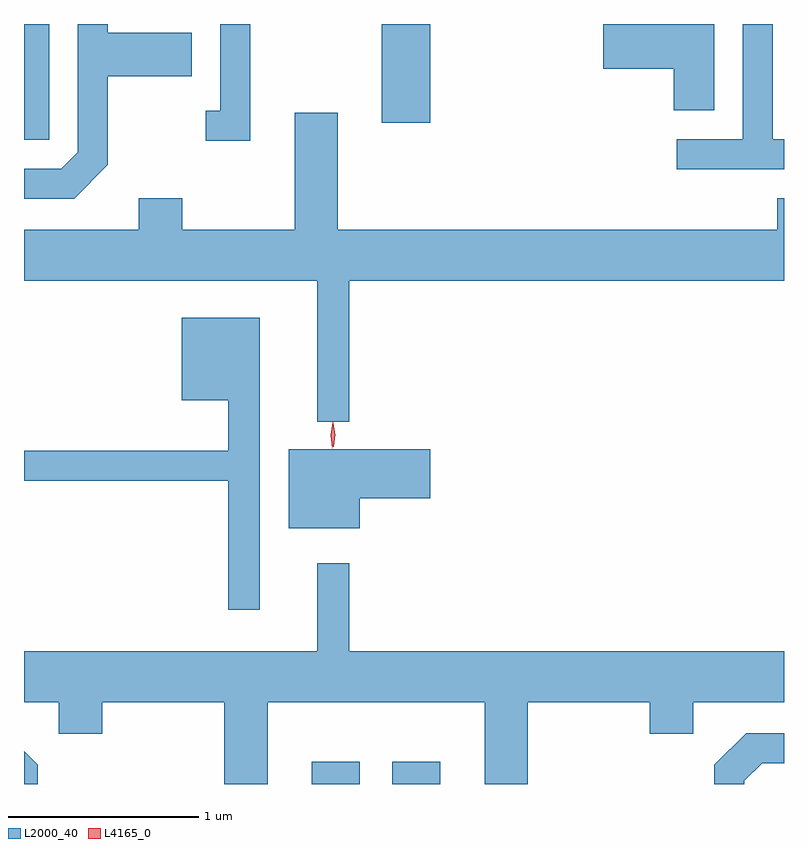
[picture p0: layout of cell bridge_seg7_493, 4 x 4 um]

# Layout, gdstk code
import gdstk
lib = gdstk.Library(unit=1e-6, precision=1e-09)
def R(c, l, rs):  # rectangles x0, y0, x1, y1
    for r in rs: c.add(gdstk.rectangle(r[:2], r[2:], *l))
def P(c, l, *ps):  # polygons
    for p in ps: c.add(gdstk.Polygon(p, *l))
L2000_40 = (2000, 40)
L4165_0 = (4165, 0)

bridge_seg7_493 = lib.new_cell('bridge_seg7_493')
R(bridge_seg7_493, L2000_40, [(1281.211,1724.986,1281.464,1725.104), (1281.636,1724.986,1281.889,1725.104), (1279.697,1728.376,1279.829,1728.986), (1281.581,1728.466,1281.834,1728.986)])
P(bridge_seg7_493, L2000_40, [(1280.139,1728.244),(1280.139,1728.711),(1280.579,1728.711),(1280.579,1728.939),(1280.139,1728.939),(1280.139,1728.986),(1279.981,1728.986),(1279.981,1728.312),(1279.894,1728.224),(1279.697,1728.224),(1279.697,1728.066),(1279.962,1728.066)],
  [(1283.329,1728.986),(1282.746,1728.986),(1282.746,1728.751),(1283.116,1728.751),(1283.116,1728.531),(1283.329,1728.531)],
  [(1280.889,1728.986),(1280.731,1728.986),(1280.731,1728.529),(1280.653,1728.529),(1280.653,1728.371),(1280.889,1728.371)],
  [(1283.697,1728.379),(1283.639,1728.379),(1283.639,1728.986),(1283.481,1728.986),(1283.481,1728.379),(1283.133,1728.379),(1283.133,1728.221),(1283.697,1728.221)],
  [(1281.409,1727.636),(1283.697,1727.636),(1283.697,1728.069),(1283.661,1728.069),(1283.661,1727.904),(1281.349,1727.904),(1281.349,1728.519),(1281.121,1728.519),(1281.121,1727.904),(1280.529,1727.904),(1280.529,1728.069),(1280.301,1728.069),(1280.301,1727.904),(1279.697,1727.904),(1279.697,1727.636),(1281.241,1727.636),(1281.241,1726.893),(1281.409,1726.893)],
  [(1280.939,1727.439),(1280.526,1727.439),(1280.526,1727.006),(1280.771,1727.006),(1280.771,1726.739),(1279.697,1726.739),(1279.697,1726.581),(1280.771,1726.581),(1280.771,1725.903),(1280.939,1725.903)],
  [(1281.464,1726.491),(1281.834,1726.491),(1281.834,1726.749),(1281.091,1726.749),(1281.091,1726.331),(1281.464,1726.331)],
  [(1280.979,1725.416),(1282.121,1725.416),(1282.121,1724.986),(1282.349,1724.986),(1282.349,1725.416),(1282.991,1725.416),(1282.991,1725.251),(1283.219,1725.251),(1283.219,1725.416),(1283.697,1725.416),(1283.697,1725.684),(1281.409,1725.684),(1281.409,1726.148),(1281.241,1726.148),(1281.241,1725.684),(1279.697,1725.684),(1279.697,1725.416),(1279.881,1725.416),(1279.881,1725.251),(1280.109,1725.251),(1280.109,1725.416),(1280.751,1725.416),(1280.751,1724.986),(1280.979,1724.986)],
  [(1283.489,1725.004),(1283.582,1725.096),(1283.697,1725.096),(1283.697,1725.254),(1283.499,1725.254),(1283.331,1725.087),(1283.331,1724.986),(1283.489,1724.986)],
  [(1279.769,1725.087),(1279.697,1725.159),(1279.697,1724.986),(1279.769,1724.986)])
P(bridge_seg7_493, L4165_0, [(1281.319,1726.754),(1281.311,1726.822),(1281.321,1726.89),(1281.321,1726.89),(1281.322,1726.89),(1281.33,1726.822),(1281.32,1726.754),(1281.32,1726.754)],
  [(1281.325,1726.76),(1281.325,1726.76),(1281.315,1726.823),(1281.324,1726.886),(1281.325,1726.887),(1281.325,1726.886),(1281.335,1726.823),(1281.326,1726.76)])

lib.write_gds('bridge_seg7_493.gds')
